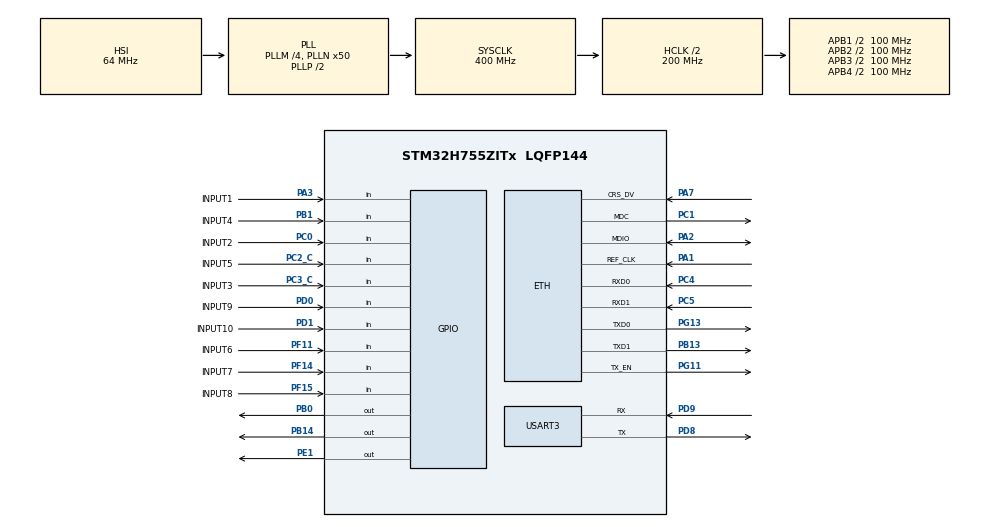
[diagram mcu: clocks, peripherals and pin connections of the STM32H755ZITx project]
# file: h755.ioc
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CortexM4.IPs=BDMA,CORTEX_M4\:I,DEBUG,DMA,FATFS_M4\:I,FREERTOS_M4\:I,GPIO,IWDG2\:I,MDMA,NVIC2\:I,OPENAMP_M4\:I,PDM2PCM_M4\:I,PWR,RCC,RESMGR_UTILITY,SYS_M4\:I,USB_DEVICE_M4\:I,USB_HOST_M4\:I,VREFBUF,WWDG2\:I
CortexM7.IPs=BDMA\:I,CORTEX_M7\:I,DEBUG\:I,DMA\:I,FATFS_M7\:I,FREERTOS_M7\:I,GPIO\:I,IWDG1\:I,MDMA\:I,NVIC1\:I,OPENAMP_M7\:I,PDM2PCM_M7\:I,PWR\:I,RCC\:I,RESMGR_UTILITY\:I,SYS\:I,USB_DEVICE_M7\:I,USB_HOST_M7\:I,VREFBUF\:I,WWDG1\:I,ETH\:I,USART3\:I,RNG\:I
CortexM7.Pins=PC0,PC2_C,PC3_C,PA3,PB1,PF11,PF14,PF15,PD0,PD1
ETH.MediaInterface=HAL_ETH_RMII_MODE
Mcu.Family=STM32H7
Mcu.Name=STM32H755ZITx
Mcu.Package=LQFP144
NVIC1.ETH_IRQn=true\:0\:0\:false\:false\:false\:true\:false\:true
NVIC1.PriorityGroup=NVIC_PRIORITYGROUP_4
NVIC2.PriorityGroup=NVIC_PRIORITYGROUP_4
PA1.Mode=RMII
PA1.PinAttribute=CortexM7
PA1.Signal=ETH_REF_CLK
PA2.Mode=RMII
PA2.PinAttribute=CortexM7
PA2.Signal=ETH_MDIO
PA3.GPIO_Label=INPUT1
PA3.GPIO_PuPd=GPIO_PULLUP
PA3.PinAttribute=CortexM7
PA3.Signal=GPIO_Input
PA7.Mode=RMII
PA7.PinAttribute=CortexM7
PA7.Signal=ETH_CRS_DV
PB0.PinAttribute=Free
PB0.Signal=GPIO_Output
PB1.GPIO_Label=INPUT4
PB1.GPIO_PuPd=GPIO_PULLUP
PB1.PinAttribute=CortexM7
PB1.Signal=GPIO_Input
PB13.Mode=RMII
PB13.PinAttribute=CortexM7
PB13.Signal=ETH_TXD1
PB14.PinAttribute=Free
PB14.Signal=GPIO_Output
PC0.GPIO_Label=INPUT2
PC0.GPIO_PuPd=GPIO_PULLUP
PC0.PinAttribute=CortexM7
PC0.Signal=GPIO_Input
PC1.Mode=RMII
PC1.PinAttribute=CortexM7
PC1.Signal=ETH_MDC
PC2_C.GPIO_Label=INPUT5
PC2_C.GPIO_PuPd=GPIO_PULLUP
PC2_C.PinAttribute=CortexM7
PC2_C.Signal=GPIO_Input
PC3_C.GPIO_Label=INPUT3
PC3_C.GPIO_PuPd=GPIO_PULLUP
PC3_C.PinAttribute=CortexM7
PC3_C.Signal=GPIO_Input
PC4.Mode=RMII
PC4.PinAttribute=CortexM7
PC4.Signal=ETH_RXD0
PC5.Mode=RMII
PC5.PinAttribute=CortexM7
PC5.Signal=ETH_RXD1
PD0.GPIO_Label=INPUT9
PD0.GPIO_PuPd=GPIO_PULLUP
PD0.PinAttribute=CortexM7
PD0.Signal=GPIO_Input
PD1.GPIO_Label=INPUT10
PD1.GPIO_PuPd=GPIO_PULLUP
PD1.PinAttribute=CortexM7
PD1.Signal=GPIO_Input
PD8.Mode=Asynchronous
PD8.PinAttribute=CortexM7
PD8.Signal=USART3_TX
PD9.Mode=Asynchronous
PD9.PinAttribute=CortexM7
PD9.Signal=USART3_RX
PE1.PinAttribute=Free
PE1.Signal=GPIO_Output
PF11.GPIO_Label=INPUT6
PF11.GPIO_PuPd=GPIO_PULLUP
PF11.PinAttribute=CortexM7
PF11.Signal=GPIO_Input
PF14.GPIO_Label=INPUT7
PF14.GPIO_PuPd=GPIO_PULLUP
PF14.PinAttribute=CortexM7
PF14.Signal=GPIO_Input
PF15.GPIO_Label=INPUT8
PF15.GPIO_PuPd=GPIO_PULLUP
PF15.PinAttribute=CortexM7
PF15.Signal=GPIO_Input
PG11.Mode=RMII
PG11.PinAttribute=CortexM7
PG11.Signal=ETH_TX_EN
PG13.Mode=RMII
PG13.PinAttribute=CortexM7
PG13.Signal=ETH_TXD0
ProjectManager.HeapSize=M4-0x200,M7-0x200
ProjectManager.StackSize=M4-0x400,M7-0x400
ProjectManager.TargetToolchain=STM32CubeIDE
RCC.ADCFreq_Value=129000000
RCC.APB1Freq_Value=100000000
RCC.APB2Freq_Value=100000000
RCC.APB3Freq_Value=100000000
RCC.APB4Freq_Value=100000000
RCC.CortexFreq_Value=400000000
RCC.D1PPRE=RCC_APB3_DIV2
RCC.D2PPRE1=RCC_APB1_DIV2
RCC.D2PPRE2=RCC_APB2_DIV2
RCC.D3PPRE=RCC_APB4_DIV2
RCC.DIVM1=4
RCC.DIVN1=50
RCC.HCLKFreq_Value=200000000
RCC.HPRE=RCC_HCLK_DIV2
RCC.PLL2FRACN=0
RCC.PLL3FRACN=0
RCC.PLLFRACN=0
RCC.SYSCLKFreq_VALUE=400000000
RCC.SYSCLKSource=RCC_SYSCLKSOURCE_PLLCLK
RCC.USBFreq_Value=400000000
SYS.userName=SYS_M7
USART3.VirtualMode-Asynchronous=VM_ASYNC
VP_RNG_VS_RNG.Mode=RNG_Activate
VP_SYS_M4_VS_Systick.Mode=SysTick
board=custom

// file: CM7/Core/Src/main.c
/* USER CODE BEGIN Header */
/**
  ******************************************************************************
  * @file           : main.c
  * @brief          : Main program body
  ******************************************************************************
  * @attention
  *
  * Copyright (c) 2024 STMicroelectronics.
  * All rights reserved.
  *
  * This software is licensed under terms that can be found in the LICENSE file
  * in the root directory of this software component.
  * If no LICENSE file comes with this software, it is provided AS-IS.
  *
  ******************************************************************************
  */
/* USER CODE END Header */
#include "main.h"
#include "string.h"

/* USER CODE BEGIN Includes */
#include "mongoose_glue.h"
/* USER CODE END Includes */

/* USER CODE BEGIN PD */

#ifndef HSEM_ID_0
#define HSEM_ID_0 (0U) /* HW semaphore 0*/
#endif

/* USER CODE END PD */

#if defined ( __ICCARM__ ) /*!< IAR Compiler */
#pragma location=0x30000000
ETH_DMADescTypeDef  DMARxDscrTab[ETH_RX_DESC_CNT]; /* Ethernet Rx DMA Descriptors */
#pragma location=0x30000080
ETH_DMADescTypeDef  DMATxDscrTab[ETH_TX_DESC_CNT]; /* Ethernet Tx DMA Descriptors */

#elif defined ( __CC_ARM )  /* MDK ARM Compiler */

__attribute__((at(0x30000000))) ETH_DMADescTypeDef  DMARxDscrTab[ETH_RX_DESC_CNT]; /* Ethernet Rx DMA Descriptors */
__attribute__((at(0x30000080))) ETH_DMADescTypeDef  DMATxDscrTab[ETH_TX_DESC_CNT]; /* Ethernet Tx DMA Descriptors */

#elif defined ( __GNUC__ ) /* GNU Compiler */

ETH_DMADescTypeDef DMARxDscrTab[ETH_RX_DESC_CNT] __attribute__((section(".RxDescripSection"))); /* Ethernet Rx DMA Descriptors */
ETH_DMADescTypeDef DMATxDscrTab[ETH_TX_DESC_CNT] __attribute__((section(".TxDescripSection")));   /* Ethernet Tx DMA Descriptors */
#endif

ETH_TxPacketConfig TxConfig;

ETH_HandleTypeDef heth;

RNG_HandleTypeDef hrng;

UART_HandleTypeDef huart3;

void SystemClock_Config(void);
static void MX_GPIO_Init(void);
static void MX_ETH_Init(void);
static void MX_RNG_Init(void);
static void MX_USART3_UART_Init(void);

/* USER CODE BEGIN 0 */
bool mg_random(void *buf, size_t len) {  // Use on-board RNG
  for (size_t n = 0; n < len; n += sizeof(uint32_t)) {
    uint32_t r;
    HAL_RNG_GenerateRandomNumber(&hrng, &r);
    memcpy((char *) buf + n, &r, n + sizeof(r) > len ? len - n : sizeof(r));
  }
  return true; // TODO(): ensure successful RNG init, then return on false above
}

uint64_t mg_millis(void) {
  return HAL_GetTick();
}

int _write(int fd, unsigned char *buf, int len) {
  if (fd == 1 || fd == 2) {                     // stdout or stderr ?
    HAL_UART_Transmit(&huart3, buf, len, 999);  // Print to the UART
  }
  return len;
}

typedef struct {
	GPIO_TypeDef *port;
	uint16_t pin;
}input_t;

input_t inputs[] ={
		{INPUT1_GPIO_Port, INPUT1_Pin},
		{INPUT2_GPIO_Port, INPUT2_Pin},
		{INPUT3_GPIO_Port, INPUT3_Pin},
		{INPUT4_GPIO_Port, INPUT4_Pin},
		{INPUT5_GPIO_Port, INPUT5_Pin},
		{INPUT6_GPIO_Port, INPUT6_Pin},
		{INPUT7_GPIO_Port, INPUT7_Pin},
		{INPUT8_GPIO_Port, INPUT8_Pin},
		{INPUT9_GPIO_Port, INPUT9_Pin},
		{INPUT10_GPIO_Port, INPUT10_Pin},
};

bool READ_INPUTS (uint16_t i)
{
	return (HAL_GPIO_ReadPin(inputs[i].port, inputs[i].pin));
}

void my_modbus_handler(struct mg_modbus_req *req) {
  if (req->func == MG_MODBUS_FUNC_READ_DISCRETE_INPUTS) {
    for (uint16_t i = 0; i < req->len; i++) {
      req->u.bits[i] = READ_INPUTS(i);
    }
  }
  else {
    req->error = MG_MODBUS_ERR_DEVICE_FAILURE;
  }
}

static struct inputs dis_inputs[] = {
  {false},{false},{false},{false},{false},{false},{false},{false},{false},{false},
};

bool my_get_inputs(struct inputs *data, size_t i) {
  size_t array_size = sizeof(dis_inputs) / sizeof(dis_inputs[0]);
  if (i >= array_size) return false;

  for (int j =0; j<array_size; j++)
  {
	  dis_inputs[j].level = READ_INPUTS(j);
  }
  *data = dis_inputs[i];  // Sync with your device
  return true;
}

/* USER CODE END 0 */

int main(void)
{

/* USER CODE BEGIN Boot_Mode_Sequence_0 */
//  int32_t timeout;
/* USER CODE END Boot_Mode_Sequence_0 */

/* USER CODE BEGIN Boot_Mode_Sequence_1 */
  /* Wait until CPU2 boots and enters in stop mode or timeout*/
//  timeout = 0xFFFF;
//  while((__HAL_RCC_GET_FLAG(RCC_FLAG_D2CKRDY) != RESET) && (timeout-- > 0));
//  if ( timeout < 0 )
//  {
//  Error_Handler();
//  }
/* USER CODE END Boot_Mode_Sequence_1 */
  /* MCU Configuration--------------------------------------------------------*/

  /* Reset of all peripherals, Initializes the Flash interface and the Systick. */
  HAL_Init();

  /* Configure the system clock */
  SystemClock_Config();
/* USER CODE BEGIN Boot_Mode_Sequence_2 */
/* When system initialization is finished, Cortex-M7 will release Cortex-M4 by means of
HSEM notification */
/*HW semaphore Clock enable*/
//__HAL_RCC_HSEM_CLK_ENABLE();
///*Take HSEM */
//HAL_HSEM_FastTake(HSEM_ID_0);
///*Release HSEM in order to notify the CPU2(CM4)*/
//HAL_HSEM_Release(HSEM_ID_0,0);
///* wait until CPU2 wakes up from stop mode */
//timeout = 0xFFFF;
//while((__HAL_RCC_GET_FLAG(RCC_FLAG_D2CKRDY) == RESET) && (timeout-- > 0));
//if ( timeout < 0 )
//{
//Error_Handler();
//}
/* USER CODE END Boot_Mode_Sequence_2 */

  /* Initialize all configured peripherals */
  MX_GPIO_Init();
  MX_ETH_Init();
  MX_RNG_Init();
  MX_USART3_UART_Init();
  /* USER CODE BEGIN 2 */
  mongoose_init();
  mongoose_set_modbus_handler(my_modbus_handler);
  mongoose_set_http_handlers("inputs", my_get_inputs, NULL);
  mongoose_add_ws_reporter(200, "inputs");
  for (;;) {
    mongoose_poll();
  }
  /* USER CODE END 2 */

  /* Infinite loop */
  while (1)
  {

  }
}

void SystemClock_Config(void)
{
  RCC_OscInitTypeDef RCC_OscInitStruct = {0};
  RCC_ClkInitTypeDef RCC_ClkInitStruct = {0};

  /** Supply configuration update enable
  */
  HAL_PWREx_ConfigSupply(PWR_DIRECT_SMPS_SUPPLY);

  /** Configure the main internal regulator output voltage
  */
  __HAL_PWR_VOLTAGESCALING_CONFIG(PWR_REGULATOR_VOLTAGE_SCALE1);

  while(!__HAL_PWR_GET_FLAG(PWR_FLAG_VOSRDY)) {}

  /** Initializes the RCC Oscillators according to the specified parameters
  * in the RCC_OscInitTypeDef structure.
  */
  RCC_OscInitStruct.OscillatorType = RCC_OSCILLATORTYPE_HSI48|RCC_OSCILLATORTYPE_HSI;
  RCC_OscInitStruct.HSIState = RCC_HSI_DIV1;
  RCC_OscInitStruct.HSICalibrationValue = RCC_HSICALIBRATION_DEFAULT;
  RCC_OscInitStruct.HSI48State = RCC_HSI48_ON;
  RCC_OscInitStruct.PLL.PLLState = RCC_PLL_ON;
  RCC_OscInitStruct.PLL.PLLSource = RCC_PLLSOURCE_HSI;
  RCC_OscInitStruct.PLL.PLLM = 4;
  RCC_OscInitStruct.PLL.PLLN = 50;
  RCC_OscInitStruct.PLL.PLLP = 2;
  RCC_OscInitStruct.PLL.PLLQ = 2;
  RCC_OscInitStruct.PLL.PLLR = 2;
  RCC_OscInitStruct.PLL.PLLRGE = RCC_PLL1VCIRANGE_3;
  RCC_OscInitStruct.PLL.PLLVCOSEL = RCC_PLL1VCOWIDE;
  RCC_OscInitStruct.PLL.PLLFRACN = 0;
  if (HAL_RCC_OscConfig(&RCC_OscInitStruct) != HAL_OK)
  {
    Error_Handler();
  }

  /** Initializes the CPU, AHB and APB buses clocks
  */
  RCC_ClkInitStruct.ClockType = RCC_CLOCKTYPE_HCLK|RCC_CLOCKTYPE_SYSCLK
                              |RCC_CLOCKTYPE_PCLK1|RCC_CLOCKTYPE_PCLK2
                              |RCC_CLOCKTYPE_D3PCLK1|RCC_CLOCKTYPE_D1PCLK1;
  RCC_ClkInitStruct.SYSCLKSource = RCC_SYSCLKSOURCE_PLLCLK;
  RCC_ClkInitStruct.SYSCLKDivider = RCC_SYSCLK_DIV1;
  RCC_ClkInitStruct.AHBCLKDivider = RCC_HCLK_DIV2;
  RCC_ClkInitStruct.APB3CLKDivider = RCC_APB3_DIV2;
  RCC_ClkInitStruct.APB1CLKDivider = RCC_APB1_DIV2;
  RCC_ClkInitStruct.APB2CLKDivider = RCC_APB2_DIV2;
  RCC_ClkInitStruct.APB4CLKDivider = RCC_APB4_DIV2;

  if (HAL_RCC_ClockConfig(&RCC_ClkInitStruct, FLASH_LATENCY_2) != HAL_OK)
  {
    Error_Handler();
  }
}

static void MX_ETH_Init(void)
{

   static uint8_t MACAddr[6];

  heth.Instance = ETH;
  MACAddr[0] = 0x00;
  MACAddr[1] = 0x80;
  MACAddr[2] = 0xE1;
  MACAddr[3] = 0x00;
  MACAddr[4] = 0x00;
  MACAddr[5] = 0x00;
  heth.Init.MACAddr = &MACAddr[0];
  heth.Init.MediaInterface = HAL_ETH_RMII_MODE;
  heth.Init.TxDesc = DMATxDscrTab;
  heth.Init.RxDesc = DMARxDscrTab;
  heth.Init.RxBuffLen = 1536;

  if (HAL_ETH_Init(&heth) != HAL_OK)
  {
    Error_Handler();
  }

  memset(&TxConfig, 0 , sizeof(ETH_TxPacketConfig));
  TxConfig.Attributes = ETH_TX_PACKETS_FEATURES_CSUM | ETH_TX_PACKETS_FEATURES_CRCPAD;
  TxConfig.ChecksumCtrl = ETH_CHECKSUM_IPHDR_PAYLOAD_INSERT_PHDR_CALC;
  TxConfig.CRCPadCtrl = ETH_CRC_PAD_INSERT;

}

static void MX_RNG_Init(void)
{

  hrng.Instance = RNG;
  hrng.Init.ClockErrorDetection = RNG_CED_ENABLE;
  if (HAL_RNG_Init(&hrng) != HAL_OK)
  {
    Error_Handler();
  }

}

static void MX_USART3_UART_Init(void)
{

  huart3.Instance = USART3;
  huart3.Init.BaudRate = 115200;
  huart3.Init.WordLength = UART_WORDLENGTH_8B;
  huart3.Init.StopBits = UART_STOPBITS_1;
  huart3.Init.Parity = UART_PARITY_NONE;
  huart3.Init.Mode = UART_MODE_TX_RX;
  huart3.Init.HwFlowCtl = UART_HWCONTROL_NONE;
  huart3.Init.OverSampling = UART_OVERSAMPLING_16;
  huart3.Init.OneBitSampling = UART_ONE_BIT_SAMPLE_DISABLE;
  huart3.Init.ClockPrescaler = UART_PRESCALER_DIV1;
  huart3.AdvancedInit.AdvFeatureInit = UART_ADVFEATURE_NO_INIT;
  if (HAL_UART_Init(&huart3) != HAL_OK)
  {
    Error_Handler();
  }
  if (HAL_UARTEx_SetTxFifoThreshold(&huart3, UART_TXFIFO_THRESHOLD_1_8) != HAL_OK)
  {
    Error_Handler();
  }
  if (HAL_UARTEx_SetRxFifoThreshold(&huart3, UART_RXFIFO_THRESHOLD_1_8) != HAL_OK)
  {
    Error_Handler();
  }
  if (HAL_UARTEx_DisableFifoMode(&huart3) != HAL_OK)
  {
    Error_Handler();
  }

}

static void MX_GPIO_Init(void)
{
  GPIO_InitTypeDef GPIO_InitStruct = {0};

  /* GPIO Ports Clock Enable */
  __HAL_RCC_GPIOC_CLK_ENABLE();
  __HAL_RCC_GPIOA_CLK_ENABLE();
  __HAL_RCC_GPIOB_CLK_ENABLE();
  __HAL_RCC_GPIOF_CLK_ENABLE();
  __HAL_RCC_GPIOD_CLK_ENABLE();
  __HAL_RCC_GPIOG_CLK_ENABLE();

  /*Configure GPIO pins : INPUT2_Pin INPUT5_Pin INPUT3_Pin */
  GPIO_InitStruct.Pin = INPUT2_Pin|INPUT5_Pin|INPUT3_Pin;
  GPIO_InitStruct.Mode = GPIO_MODE_INPUT;
  GPIO_InitStruct.Pull = GPIO_PULLUP;
  HAL_GPIO_Init(GPIOC, &GPIO_InitStruct);

  /*Configure GPIO pin : INPUT1_Pin */
  GPIO_InitStruct.Pin = INPUT1_Pin;
  GPIO_InitStruct.Mode = GPIO_MODE_INPUT;
  GPIO_InitStruct.Pull = GPIO_PULLUP;
  HAL_GPIO_Init(INPUT1_GPIO_Port, &GPIO_InitStruct);

  /*Configure GPIO pin : INPUT4_Pin */
  GPIO_InitStruct.Pin = INPUT4_Pin;
  GPIO_InitStruct.Mode = GPIO_MODE_INPUT;
  GPIO_InitStruct.Pull = GPIO_PULLUP;
  HAL_GPIO_Init(INPUT4_GPIO_Port, &GPIO_InitStruct);

  /*Configure GPIO pins : INPUT6_Pin INPUT7_Pin INPUT8_Pin */
  GPIO_InitStruct.Pin = INPUT6_Pin|INPUT7_Pin|INPUT8_Pin;
  GPIO_InitStruct.Mode = GPIO_MODE_INPUT;
  GPIO_InitStruct.Pull = GPIO_PULLUP;
  HAL_GPIO_Init(GPIOF, &GPIO_InitStruct);

  /*Configure GPIO pins : INPUT9_Pin INPUT10_Pin */
  GPIO_InitStruct.Pin = INPUT9_Pin|INPUT10_Pin;
  GPIO_InitStruct.Mode = GPIO_MODE_INPUT;
  GPIO_InitStruct.Pull = GPIO_PULLUP;
  HAL_GPIO_Init(GPIOD, &GPIO_InitStruct);

}

void Error_Handler(void)
{
  __disable_irq();
  while (1)
  {
  }
}
